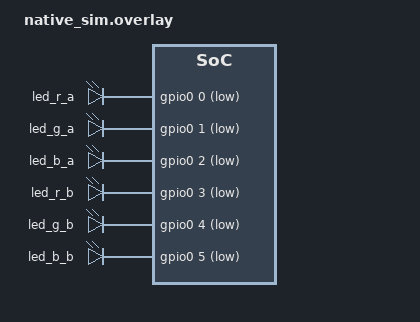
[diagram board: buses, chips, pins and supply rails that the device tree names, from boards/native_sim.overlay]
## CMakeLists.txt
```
cmake_minimum_required(VERSION 3.20.0)

# find_package(Zephyr REQUIRED)
find_package(Zephyr REQUIRED HINTS $ENV{ZEPHYR_BASE})
project(app LANGUAGES C)

target_sources(app PRIVATE src/commands.c src/main.c)
target_sources_ifdef(CONFIG_SHELL app PRIVATE src/shell.c)
target_sources_ifdef(CONFIG_BINDESC_DEFINE app PRIVATE src/bindesc_dp.c)
target_sources_ifdef(CONFIG_SOC_SERIES_STM32G0X app PRIVATE src/soc_stm32g0.c)
target_sources_ifdef(CONFIG_TASK_WDT app PRIVATE src/watchdog.c)
```

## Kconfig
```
mainmenu "Embedded Coprocessor firmware"

menu "ECP Features"

config APP_ECP_IO
    bool "Enable support for ECP I/O"
    default y
    depends on DP_PORTS
    help
        Enable support for accessing ports via ECP.

config APP_ECP_HOST_TIMEOUT_MS
    int "Host inactivity timeout (ms)"
    default 100
    help
        While active, if no valid request arrives from the host for this long, switch
        off the output and sensor power of every channel (SRS-354). They stay off until
        the host commands them again. 0 disables the timeout.

config APP_ECP_PEEK_POKE
    bool "Enable support for peek/poke"
    default y
    help
        Enable support reading and writing arbitrary memory on the ECP.

config APP_ECP_COMM_STATS
    bool "Enable ECP communication statistics"
    default y
    help
        Track statistical data.

config APP_ECP_GPIO
    bool "Enable ECP GPIO"
    default y
    depends on GPIO
    help
        Support setting GPIO via ECP

config APP_ECP_LED
    bool "Enable ECP LEDs"
    default y
    depends on LED
    help
        Support setting LEDs via GPIO

config APP_ECP_DEVICE_EVENTS
    bool "Enable device events"
    depends on EVENTS
    default n
    help
        Enable support for device events.
endmenu

config APP_ECP_SW_PART_NUMBER
    string "Data Panel software part number"
    depends on BINDESC
    default "45116-56x"
    help
        This string is used by the host micro to determine ECP firmware
        compatibility.

if BINDESC_DEFINE

config BINDESC_DP_APP_VERSION_BUILD
    bool "App version build number"
    default y
    depends on BINDESC_DEFINE_VERSION

config BINDESC_DP_APP_VERSION_STRING
    bool "Datapanel App version string"
    default y
    depends on BINDESC_DEFINE_VERSION
    help
        Full version string, including all build information.
        For example:

            1.2.3+456gabcdef

config BINDESC_DP_SW_PART_NUMBER
    bool "Software part number string"
    default y

endif # BINDESC_DEFINE


source "Kconfig.zephyr"
```

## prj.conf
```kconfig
CONFIG_SHELL=n
CONFIG_GPIO_SHELL=n

CONFIG_EVENTS=y

# Nothing uses the system heap, so don't let HEAP_MEM_POOL_ADD_SIZE_BOARD force one
CONFIG_HEAP_MEM_POOL_IGNORE_MIN=y

CONFIG_WATCHDOG=y
# Each thread feeds a task watchdog channel; the IWDG backs it up
CONFIG_TASK_WDT=y
CONFIG_ADC=y
CONFIG_GPIO=y
CONFIG_GPIO_HOGS=y
CONFIG_CLOCK_CONTROL=y
CONFIG_KEEPALIVE=n

# The options below reduce flash usage
CONFIG_SIZE_OPTIMIZATIONS_AGGRESSIVE=y
CONFIG_BOOT_BANNER=n
CONFIG_THREAD_NAME=n
CONFIG_THREAD_RUNTIME_STATS=y
CONFIG_MEM_SLAB_TRACE_MAX_UTILIZATION=n
CONFIG_UART_USE_RUNTIME_CONFIGURE=n
CONFIG_CBPRINTF_NANO=y
CONFIG_CBPRINTF_FP_A_SUPPORT=n
CONFIG_CBPRINTF_REDUCED_INTEGRAL=y
CONFIG_CBPRINTF_LIBC_SUBSTS=n
CONFIG_THREAD_ANALYZER=y
CONFIG_SENSOR_ASYNC_API=n
CONFIG_DP_BOARD_SHELL=n
CONFIG_ASSERT_VERBOSE=n

CONFIG_SHELL_PROMPT_CHANGE=n
CONFIG_SHELL_CMDS=n
CONFIG_SHELL_TAB=n
CONFIG_SHELL_WILDCARD=n
CONFIG_SHELL_VT100_COLORS=n
CONFIG_SHELL_HELP=n
CONFIG_SHELL_HISTORY=n
CONFIG_SHELL_STATS=n
CONFIG_DEVICE_SHELL=n
CONFIG_COMPARATOR_SHELL=n

CONFIG_DP_METRICS=y
CONFIG_DMA=y
CONFIG_UART_ASYNC_API=y

CONFIG_BINDESC=y
CONFIG_BINDESC_DEFINE=y
CONFIG_BINDESC_DEFINE_VERSION=y
CONFIG_BINDESC_APP_VERSION_MAJOR=y
CONFIG_BINDESC_APP_VERSION_MINOR=y
CONFIG_BINDESC_APP_VERSION_PATCHLEVEL=y

CONFIG_BINDESC_DP_APP_VERSION_BUILD=y
CONFIG_BINDESC_DP_SW_PART_NUMBER=y

CONFIG_REBOOT=y

CONFIG_CONSOLE=y

CONFIG_ECP_DEVICE_CMD_DEDICATED_THREAD=y

CONFIG_DP_PORTS_HANDLER_DEDICATED_THREAD=n
```

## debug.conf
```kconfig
# Debug overlay. Apply with -DEXTRA_CONF_FILE=debug.conf
# prj.conf is the release configuration.
# Debug-only options go here.
CONFIG_LOG=y
CONFIG_LOG_MODE_MINIMAL=y
```

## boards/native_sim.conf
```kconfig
# native_sim has no async UART or DMA. ECP commands use the simulator backend instead.
CONFIG_UART_ASYNC_API=n
CONFIG_DMA=n

# Needed for REBOOT, ESTOP and BOOT_JUMP. The UART backend enables it by default.
CONFIG_ECP_DEVICE_CMD_IN_PROGRESS_STATUS=y

# Not supported on native_sim
CONFIG_THREAD_ANALYZER=n
```

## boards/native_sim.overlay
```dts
/*
 * Stand-ins for the ECP hardware, so the application can run on native_sim.
 * Node labels match datapanel_45116_stm32g051xx.dts.
 */

#include <zephyr/dt-bindings/gpio/gpio.h>

/ {
    leds {
        compatible = "gpio-leds";
        led_r_a: led-r-a {
            gpios = <&gpio0 0 GPIO_ACTIVE_LOW>;
        };
        led_g_a: led-g-a {
            gpios = <&gpio0 1 GPIO_ACTIVE_LOW>;
        };
        led_b_a: led-b-a {
            gpios = <&gpio0 2 GPIO_ACTIVE_LOW>;
        };
        led_r_b: led-r-b {
            gpios = <&gpio0 3 GPIO_ACTIVE_LOW>;
        };
        led_g_b: led-g-b {
            gpios = <&gpio0 4 GPIO_ACTIVE_LOW>;
        };
        led_b_b: led-b-b {
            gpios = <&gpio0 5 GPIO_ACTIVE_LOW>;
        };
    };

    port: ports {
        compatible = "dp,port-controller";
        status = "okay";
        #address-cells = <1>;
        #size-cells = <0>;
        zephyr,deferred-init;

        port1_5a: port1_5a@1 {
            compatible = "dp,port-fake";
            reg = <1>;
            status = "okay";
            zephyr,deferred-init;
            /* As on the board: PWM frequency, digital input thresholds low and high */
            shared-attributes = <1 21 22>;
        };

        port1_13a: port1_13a@1 {
            compatible = "dp,port-fake";
            reg = <1>;
            status = "okay";
            zephyr,deferred-init;
        };
    };
};
```

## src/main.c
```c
#include <zephyr/kernel.h>
#include <zephyr/logging/log.h>
#include <zephyr/task_wdt/task_wdt.h>
#include <zephyr/sys/byteorder.h>
#include <zephyr/pm/pm.h>

#include <zephyr/app_version.h>

#include <dp/metrics.h>

LOG_MODULE_REGISTER(app, CONFIG_APP_LOG_LEVEL);

#define MAIN_LOOP_INTERVAL_MS 50
#define MAIN_WDT_TIMEOUT_MS   1000

int main(void)
{
	/* The task watchdog, and the hardware watchdog behind it, are started in watchdog.c.
	 * The main loop feeds its own channel.
	 */
#if defined(CONFIG_TASK_WDT)
	int wdt_channel = task_wdt_add(MAIN_WDT_TIMEOUT_MS, NULL, NULL);

	if (wdt_channel < 0) {
		LOG_ERR("Could not add task watchdog channel: %d", wdt_channel);
	}
#endif

	printk("ECP %d.%d.%d+%d-%s\n", APP_VERSION_MAJOR, APP_VERSION_MINOR, APP_PATCHLEVEL,
	       APP_TWEAK, STRINGIFY(APP_BUILD_VERSION));

	while (1) {

		if (IS_ENABLED(CONFIG_DP_METRICS)) {
			dp_metrics_collect();
		}

#if defined(CONFIG_TASK_WDT)
		if (wdt_channel >= 0) {
			task_wdt_feed(wdt_channel);
		}
#endif
		k_msleep(MAIN_LOOP_INTERVAL_MS);
	}

	return 0;
}
```

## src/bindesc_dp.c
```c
#include <zephyr/kernel.h>
#include <zephyr/version.h>

#include <dp/dp-bindesc.h>

#include <zephyr/app_version.h>

#if defined(CONFIG_BINDESC_DP_APP_VERSION_BUILD)
BINDESC_UINT_DEFINE(dp_app_version_build, BINDESC_ID_DP_APP_VERSION_BUILD, APP_TWEAK);
#endif // CONFIG_BINDESC_DP_APP_VERSION_BUILD

#if defined(CONFIG_BINDESC_DP_SW_PART_NUMBER)
BINDESC_STR_DEFINE(dp_sw_part_number, BINDESC_ID_DP_SW_PART_NUMBER, CONFIG_APP_ECP_SW_PART_NUMBER);
#endif // CONFIG_BINDESC_DP_SW_PART_NUMBER

#define GIT_HASH CONCAT("-" STRINGIFY(APP_BUILD_VERSION))

#if defined(CONFIG_BINDESC_DP_APP_VERSION_STRING)
BINDESC_STR_DEFINE(dp_app_version_string, BINDESC_ID_DP_APP_VERSION_STRING,
		   APP_VERSION_EXTENDED_STRING GIT_HASH);
#endif // CONFIG_BINDESC_DP_APP_VERSION_STRING
```

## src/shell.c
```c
#include <zephyr/shell/shell.h>
#include <zephyr/drivers/sensor.h>
#include <zephyr/drivers/gpio.h>
#include <zephyr/drivers/comparator.h>
#include <zephyr/app_version.h>

static const struct device *vload_dev = DEVICE_DT_GET_OR_NULL(DT_NODELABEL(vload));
static const struct device *ntc_dev = DEVICE_DT_GET_OR_NULL(DT_NODELABEL(pcb_ntc));
static const struct device *csense_a_dev = DEVICE_DT_GET_OR_NULL(DT_NODELABEL(current_sense_a));
static const struct device *csense_b_dev = DEVICE_DT_GET_OR_NULL(DT_NODELABEL(current_sense_b));
static const struct device *analog_in_a_dev = DEVICE_DT_GET_OR_NULL(DT_NODELABEL(analog_in_a));
static const struct device *analog_in_b_dev = DEVICE_DT_GET_OR_NULL(DT_NODELABEL(analog_in_b));
static const struct device *encoder_in_dev = DEVICE_DT_GET_OR_NULL(DT_NODELABEL(qdec));
static const struct device *comp2_dev = DEVICE_DT_GET_OR_NULL(DT_NODELABEL(comp2));
static const struct device *comp1_dev = DEVICE_DT_GET_OR_NULL(DT_NODELABEL(comp1));
static const struct device *vsense_a_dev = DEVICE_DT_GET_OR_NULL(DT_NODELABEL(vsense_out_a));
static const struct device *vsense_b_dev = DEVICE_DT_GET_OR_NULL(DT_NODELABEL(vsense_out_b));

const struct gpio_dt_spec fault_out_a_gpio =
	GPIO_DT_SPEC_GET_BY_IDX(DT_NODELABEL(port1), fault_gpios, 0);
const struct gpio_dt_spec fault_out_b_gpio =
	GPIO_DT_SPEC_GET_BY_IDX(DT_NODELABEL(port1), fault_gpios, 1);

static void shell_print_sensor_value_milli(const struct shell *sh, const char *label,
					   const char *units, struct sensor_value *val)
{
	shell_print(sh, "%s=%d.%03d %s", label, val->val1, val->val2 / 1000, units);
}

static void shell_print_gpio_state(const struct shell *sh, const struct gpio_dt_spec *gpio,
				   const char *label)
{
	int logical = gpio_pin_get_dt(gpio);
	int raw = gpio_pin_get_raw(gpio->port, gpio->pin);

	shell_print(sh, "%s=%d (raw=%d)", label, logical, raw);
}

static void shell_print_sensor_aux_value_milli(const struct shell *sh, const char *label,
					       const char *units_main,
					       struct sensor_value *val_main, const char *units_aux,
					       struct sensor_value *val_aux)
{
	shell_print(sh, "%s=%d.%03d %s   (%d.%03d %s)", label, val_main->val1,
		    val_main->val2 / 1000, units_main, val_aux->val1, val_aux->val2 / 1000,
		    units_aux);
}

static int cmd_sensors(const struct shell *sh, size_t argc, char **argv)
{
	sensor_sample_fetch(vload_dev);
	sensor_sample_fetch(analog_in_a_dev);
	sensor_sample_fetch(analog_in_b_dev);

	struct sensor_value val;
	int ret = sensor_channel_get(vload_dev, SENSOR_CHAN_VOLTAGE, &val);
	if (ret != 0) {
		return -EIO;
	}
	shell_print_sensor_value_milli(sh, "VLOAD_VSENSE", "V", &val);

	ret = sensor_channel_get(ntc_dev, SENSOR_CHAN_AMBIENT_TEMP, &val);
	if (ret != 0) {
		return -EIO;
	}
	shell_print_sensor_value_milli(sh, "TEMP", "°C", &val);

	ret = sensor_channel_get(encoder_in_dev, SENSOR_CHAN_ROTATION, &val);
	if (ret != 0) {
		return -EIO;
	}
	shell_print(sh, "ENCODER=%d counts", val.val1);
	shell_print(sh, "");

	ret = sensor_channel_get(csense_a_dev, SENSOR_CHAN_CURRENT, &val);
	if (ret != 0) {
		return -EIO;
	}
	struct sensor_value val_aux;
	ret = sensor_channel_get(csense_a_dev, SENSOR_CHAN_VOLTAGE, &val_aux);
	if (ret != 0) {
		return -EIO;
	}
	shell_print_sensor_aux_value_milli(sh, "CSENSE_OUT_A", "A", &val, "V", &val_aux);
	struct sensor_value val_vsense;
	ret = sensor_channel_get(vsense_a_dev, SENSOR_CHAN_VOLTAGE, &val_vsense);
	if (ret != 0) {
		return -EIO;
	}
	shell_print_sensor_value_milli(sh, "VSENSE_OUT_A", "V", &val);
	shell_print_gpio_state(sh, &fault_out_a_gpio, "FAULT_OUT_A");

	sensor_channel_get(analog_in_a_dev, SENSOR_CHAN_VOLTAGE, &val);
	shell_print_sensor_value_milli(sh, "ANALOG_IN_A", "V", &val);
	ret = comparator_get_output(comp2_dev);
	if (ret < 0) {
		return -EIO;
	}
	shell_print(sh, "COMP2_OUT_A=%d", ret);

	shell_print(sh, "");

	ret = sensor_channel_get(csense_b_dev, SENSOR_CHAN_CURRENT, &val);
	if (ret != 0) {
		return -EIO;
	}
	ret = sensor_channel_get(csense_b_dev, SENSOR_CHAN_VOLTAGE, &val_aux);
	if (ret != 0) {
		return -EIO;
	}
	shell_print_sensor_aux_value_milli(sh, "CSENSE_OUT_B", "A", &val, "V", &val_aux);

	ret = sensor_channel_get(vsense_b_dev, SENSOR_CHAN_VOLTAGE, &val_vsense);
	if (ret != 0) {
		return -EIO;
	}
	shell_print_sensor_value_milli(sh, "VSENSE_VOUT_B", "V", &val);
	shell_print_gpio_state(sh, &fault_out_b_gpio, "FAULT_OUT_B");

	sensor_channel_get(analog_in_b_dev, SENSOR_CHAN_VOLTAGE, &val);
	shell_print_sensor_value_milli(sh, "ANALOG_IN_B", "V", &val);

	ret = comparator_get_output(comp1_dev);
	if (ret < 0) {
		return -EIO;
	}
	shell_print(sh, "COMP1_OUT_B=%d", ret);

	return 0;
}

SHELL_CMD_ARG_REGISTER(sensors, NULL, "Read sensor data", cmd_sensors, 1, 0);

static int cmd_version(const struct shell *sh, size_t argc, char **argv)
{
	shell_print(sh, "%d.%d.%d+%d", APP_VERSION_MAJOR, APP_VERSION_MINOR, APP_PATCHLEVEL,
		    APP_TWEAK);
	return 0;
}
SHELL_CMD_ARG_REGISTER(version, NULL, "Get version", cmd_version, 1, 0);
```

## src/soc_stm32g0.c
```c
#include <zephyr/init.h>

#include <stm32_ll_dac.h>
#include <stm32_ll_tim.h>
#include <stm32_ll_system.h>

/* Peripheral routing that the upstream drivers and device tree can't express. Runs after
 * all drivers are initialized, and before the host can enumerate the ports.
 */
static int soc_stm32g0_routing_init(void)
{
	// Timers TIM1 and TIM3 are not directly connected to any I/O. Instead, they
	// connect to the comparators internally. The upstream drivers do not have a
	// way to configure this via pinctrl or the device tree, so we manually re-map
	// them here.
	// LPTIM1, used for the encoder, has a device tree binding that does this.
	LL_TIM_SetRemap(TIM1, LL_TIM_TIM1_TI2_RMP_COMP2);
	LL_TIM_SetRemap(TIM3, LL_TIM_TIM3_TI1_RMP_COMP1);

	// The STM32G0xx series has a mux that can connect the output of the DAC to a GPIO pad,
	// internal peripherals, and/or the output buffer. By default, it's connected to the
	// pad.
	// The Zephyr DAC driver doesn't set this, so we set it here.
	LL_DAC_SetOutputConnection(DAC1, LL_DAC_CHANNEL_2, LL_DAC_OUTPUT_CONNECT_INTERNAL);

	return 0;
}
SYS_INIT(soc_stm32g0_routing_init, APPLICATION, 99);
```

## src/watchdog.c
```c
/*
 * Task watchdog: each ECP thread that must keep running (command handler, port handler,
 * main loop) has a channel it feeds. The hardware watchdog backs the task watchdog up, and
 * is only fed while every channel is.
 */
#include <zephyr/device.h>
#include <zephyr/init.h>
#include <zephyr/logging/log.h>
#include <zephyr/task_wdt/task_wdt.h>

LOG_MODULE_REGISTER(ecp_watchdog, CONFIG_APP_LOG_LEVEL);

/* After the hardware watchdog driver, and before the command handler thread starts and
 * registers its channel
 */
#define ECP_WATCHDOG_INIT_PRIORITY 60
BUILD_ASSERT(ECP_WATCHDOG_INIT_PRIORITY > CONFIG_KERNEL_INIT_PRIORITY_DEVICE);
BUILD_ASSERT(ECP_WATCHDOG_INIT_PRIORITY < CONFIG_ECP_DEVICE_CMD_INIT_PRIORITY);

static int ecp_watchdog_init(void)
{
	const struct device *hw_wdt = NULL;

#if DT_NODE_HAS_STATUS(DT_ALIAS(watchdog0), okay)
	hw_wdt = DEVICE_DT_GET(DT_ALIAS(watchdog0));
	if (!device_is_ready(hw_wdt)) {
		LOG_ERR("%s: device not ready", hw_wdt->name);
		hw_wdt = NULL;
	}
#endif

	int ret = task_wdt_init(hw_wdt);

	if (ret != 0) {
		LOG_ERR("Task watchdog init failed: %d", ret);
	}
	return ret;
}
SYS_INIT(ecp_watchdog_init, POST_KERNEL, ECP_WATCHDOG_INIT_PRIORITY);
```
